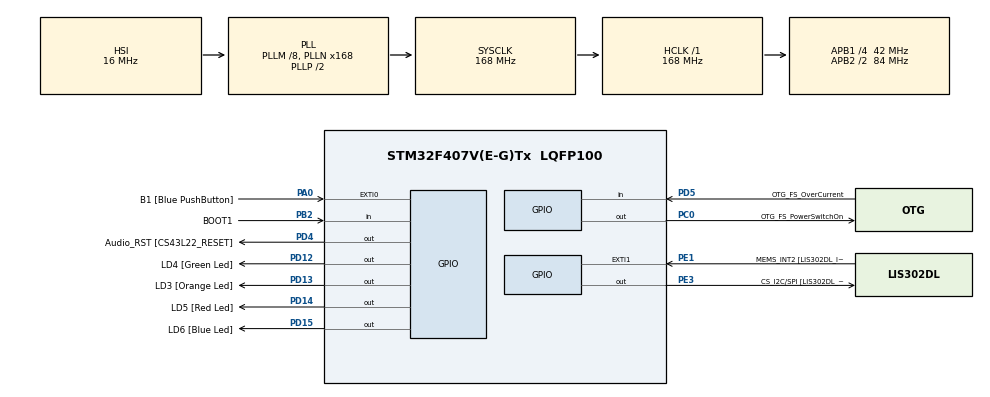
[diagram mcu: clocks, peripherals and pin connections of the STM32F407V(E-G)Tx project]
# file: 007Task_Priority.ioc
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Mcu.Family=STM32F4
Mcu.Name=STM32F407V(E-G)Tx
Mcu.Package=LQFP100
NVIC.PriorityGroup=NVIC_PRIORITYGROUP_4
NVIC.TIM6_DAC_IRQn=true\:0\:0\:false\:false\:true\:false\:true\:true
NVIC.TimeBase=TIM6_DAC_IRQn
NVIC.TimeBaseIP=TIM6
PA0-WKUP.GPIO_Label=B1 [Blue PushButton]
PA0-WKUP.Signal=GPXTI0
PA10.GPIO_Label=OTG_FS_ID
PA10.GPIO_Mode=GPIO_MODE_AF_PP
PA10.GPIO_PuPd=GPIO_NOPULL
PA10.GPIO_Speed=GPIO_SPEED_FREQ_LOW
PA10.Signal=USB_OTG_FS_ID
PA11.GPIO_Label=OTG_FS_DM
PA11.GPIO_Mode=GPIO_MODE_AF_PP
PA11.GPIO_PuPd=GPIO_NOPULL
PA11.GPIO_Speed=GPIO_SPEED_FREQ_LOW
PA11.Signal=USB_OTG_FS_DM
PA12.GPIO_Label=OTG_FS_DP
PA12.GPIO_Mode=GPIO_MODE_AF_PP
PA12.GPIO_PuPd=GPIO_NOPULL
PA12.GPIO_Speed=GPIO_SPEED_FREQ_LOW
PA12.Signal=USB_OTG_FS_DP
PA13.GPIO_Label=SWDIO
PA13.Signal=SYS_JTMS-SWDIO
PA14.GPIO_Label=SWCLK
PA14.Signal=SYS_JTCK-SWCLK
PA4.GPIO_Label=I2S3_WS [CS43L22_LRCK]
PA4.GPIO_Mode=GPIO_MODE_AF_PP
PA4.GPIO_PuPd=GPIO_NOPULL
PA4.GPIO_Speed=GPIO_SPEED_FREQ_LOW
PA4.Signal=I2S3_WS
PA5.GPIO_Label=SPI1_SCK [LIS302DL_SCL/SPC]
PA5.GPIO_Mode=GPIO_MODE_AF_PP
PA5.GPIO_PuPd=GPIO_NOPULL
PA5.GPIO_Speed=GPIO_SPEED_FREQ_LOW
PA5.Signal=SPI1_SCK
PA6.GPIO_Label=SPI1_MISO [LIS302DL_SDO]
PA6.GPIO_Mode=GPIO_MODE_AF_PP
PA6.GPIO_PuPd=GPIO_NOPULL
PA6.GPIO_Speed=GPIO_SPEED_FREQ_LOW
PA6.Signal=SPI1_MISO
PA7.GPIO_Label=SPI1_MOSI [LIS302DL_SDA/SDI/SDO]
PA7.GPIO_Mode=GPIO_MODE_AF_PP
PA7.GPIO_PuPd=GPIO_NOPULL
PA7.GPIO_Speed=GPIO_SPEED_FREQ_LOW
PA7.Signal=SPI1_MOSI
PA9.GPIO_Label=VBUS_FS
PA9.GPIO_Mode=GPIO_MODE_INPUT
PA9.GPIO_PuPd=GPIO_NOPULL
PA9.Signal=USB_OTG_FS_VBUS
PB10.GPIO_Label=CLK_IN [MP45DT02_CLK]
PB10.GPIO_Mode=GPIO_MODE_AF_PP
PB10.GPIO_PuPd=GPIO_NOPULL
PB10.GPIO_Speed=GPIO_SPEED_FREQ_LOW
PB10.Signal=I2S2_CK
PB2.GPIO_Label=BOOT1
PB2.GPIO_Mode=GPIO_MODE_INPUT
PB2.GPIO_PuPd=GPIO_NOPULL
PB2.Signal=GPIO_Input
PB3.GPIO_Label=SWO
PB3.Signal=SYS_JTDO-SWO
PB6.GPIO_Label=Audio_SCL [CS43L22_SCL]
PB6.GPIO_Mode=GPIO_MODE_AF_OD
PB6.GPIO_PuPd=GPIO_NOPULL
PB6.GPIO_Speed=GPIO_SPEED_FREQ_LOW
PB6.Signal=I2C1_SCL
PB9.GPIO_Label=Audio_SDA [CS43L22_SDA]
PB9.GPIO_Mode=GPIO_MODE_AF_OD
PB9.GPIO_PuPd=GPIO_NOPULL
PB9.GPIO_Speed=GPIO_SPEED_FREQ_LOW
PB9.Signal=I2C1_SDA
PC0.GPIO_Label=OTG_FS_PowerSwitchOn
PC0.GPIO_PuPd=GPIO_NOPULL
PC0.GPIO_Speed=GPIO_SPEED_FREQ_LOW
PC0.PinState=GPIO_PIN_SET
PC0.Signal=GPIO_Output
PC10.GPIO_Label=I2S3_SCK [CS43L22_SCLK]
PC10.GPIO_Mode=GPIO_MODE_AF_PP
PC10.GPIO_PuPd=GPIO_NOPULL
PC10.GPIO_Speed=GPIO_SPEED_FREQ_LOW
PC10.Signal=I2S3_CK
PC12.GPIO_Label=I2S3_SD [CS43L22_SDIN]
PC12.GPIO_Mode=GPIO_MODE_AF_PP
PC12.GPIO_PuPd=GPIO_NOPULL
PC12.GPIO_Speed=GPIO_SPEED_FREQ_LOW
PC12.Signal=I2S3_SD
PC14-OSC32_IN.GPIO_Label=PC14-OSC32_IN
PC14-OSC32_IN.Signal=RCC_OSC32_IN
PC15-OSC32_OUT.GPIO_Label=PC15-OSC32_OUT
PC15-OSC32_OUT.Signal=RCC_OSC32_OUT
PC3.GPIO_Label=PDM_OUT [MP45DT02_DOUT]
PC3.GPIO_Mode=GPIO_MODE_AF_PP
PC3.GPIO_PuPd=GPIO_NOPULL
PC3.GPIO_Speed=GPIO_SPEED_FREQ_LOW
PC3.Signal=I2S2_SD
PC7.GPIO_Label=I2S3_MCK [CS43L22_MCLK]
PC7.GPIO_Mode=GPIO_MODE_AF_PP
PC7.GPIO_PuPd=GPIO_NOPULL
PC7.GPIO_Speed=GPIO_SPEED_FREQ_LOW
PC7.Signal=I2S3_MCK
PD12.GPIO_Label=LD4 [Green Led]
PD12.GPIO_PuPd=GPIO_NOPULL
PD12.GPIO_Speed=GPIO_SPEED_FREQ_LOW
PD12.Signal=GPIO_Output
PD13.GPIO_Label=LD3 [Orange Led]
PD13.GPIO_PuPd=GPIO_NOPULL
PD13.GPIO_Speed=GPIO_SPEED_FREQ_LOW
PD13.Signal=GPIO_Output
PD14.GPIO_Label=LD5 [Red Led]
PD14.GPIO_PuPd=GPIO_NOPULL
PD14.GPIO_Speed=GPIO_SPEED_FREQ_LOW
PD14.Signal=GPIO_Output
PD15.GPIO_Label=LD6 [Blue Led]
PD15.GPIO_PuPd=GPIO_NOPULL
PD15.GPIO_Speed=GPIO_SPEED_FREQ_LOW
PD15.Signal=GPIO_Output
PD4.GPIO_Label=Audio_RST [CS43L22_RESET]
PD4.GPIO_PuPd=GPIO_NOPULL
PD4.GPIO_Speed=GPIO_SPEED_FREQ_LOW
PD4.Signal=GPIO_Output
PD5.GPIO_Label=OTG_FS_OverCurrent
PD5.GPIO_Mode=GPIO_MODE_INPUT
PD5.GPIO_PuPd=GPIO_NOPULL
PD5.Signal=GPIO_Input
PE1.GPIO_Label=MEMS_INT2 [LIS302DL_INT2]
PE1.GPIO_ModeDefaultEXTI=GPIO_MODE_EVT_RISING
PE1.GPIO_PuPd=GPIO_NOPULL
PE1.Signal=GPXTI1
PE3.GPIO_Label=CS_I2C/SPI [LIS302DL_CS_I2C/SPI]
PE3.GPIO_PuPd=GPIO_NOPULL
PE3.GPIO_Speed=GPIO_SPEED_FREQ_LOW
PE3.Signal=GPIO_Output
PH0-OSC_IN.GPIO_Label=PH0-OSC_IN
PH0-OSC_IN.Signal=RCC_OSC_IN
PH1-OSC_OUT.GPIO_Label=PH1-OSC_OUT
PH1-OSC_OUT.Signal=RCC_OSC_OUT
ProjectManager.HeapSize=0x200
ProjectManager.StackSize=0x400
ProjectManager.TargetToolchain=STM32CubeIDE
RCC.48MHZClocksFreq_Value=48000000
RCC.AHBFreq_Value=168000000
RCC.APB1CLKDivider=RCC_HCLK_DIV4
RCC.APB1Freq_Value=42000000
RCC.APB1TimFreq_Value=84000000
RCC.APB2CLKDivider=RCC_HCLK_DIV2
RCC.APB2Freq_Value=84000000
RCC.APB2TimFreq_Value=168000000
RCC.CortexFreq_Value=168000000
RCC.HCLKFreq_Value=168000000
RCC.HSE_VALUE=8000000
RCC.HSI_VALUE=16000000
RCC.LSE_VALUE=32768
RCC.PLLM=8
RCC.PLLN=168
RCC.PLLQ=7
RCC.SYSCLKFreq_VALUE=168000000
RCC.SYSCLKSource=RCC_SYSCLKSOURCE_PLLCLK
RCC.VCOOutputFreq_Value=336000000
VP_SYS_VS_tim6.Mode=TIM6
board=STM32F407G-DISC1

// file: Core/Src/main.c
/* USER CODE BEGIN Header */
/**
  ******************************************************************************
  * @file           : main.c
  * @brief          : Main program body
  ******************************************************************************
  * @attention
  *
  * Copyright (c) 2025 STMicroelectronics.
  * All rights reserved.
  *
  * This software is licensed under terms that can be found in the LICENSE file
  * in the root directory of this software component.
  * If no LICENSE file comes with this software, it is provided AS-IS.
  *
  ******************************************************************************
  */
/* USER CODE END Header */
#include "main.h"

/* USER CODE BEGIN Includes */
#include "FreeRTOS.h"
#include "task.h"
/* USER CODE END Includes */

/* USER CODE BEGIN PV */
#define DWT_CTRL (*(volatile uint32_t*)0xE0001000)
volatile BaseType_t button_status = 0;
/* USER CODE END PV */

void SystemClock_Config(void);
static void MX_GPIO_Init(void);
/* USER CODE BEGIN PFP */
static void task1_handler(void* parameters);
static void task2_handler(void* parameters);

TaskHandle_t task1_handle;
TaskHandle_t task2_handle;

extern void SEGGER_UART_init(uint32_t);
/* USER CODE END PFP */

int main(void)
{

  /* USER CODE BEGIN 1 */
	BaseType_t status;
  /* USER CODE END 1 */

  /* MCU Configuration--------------------------------------------------------*/

  /* Reset of all peripherals, Initializes the Flash interface and the Systick. */
  HAL_Init();

  /* Configure the system clock */
  SystemClock_Config();

  /* Initialize all configured peripherals */
  MX_GPIO_Init();
  /* USER CODE BEGIN 2 */
  SEGGER_UART_init(500000);

  //CYCLCNT enable
  DWT_CTRL |= (1 << 0);

  SEGGER_SYSVIEW_Conf(); //for uart communucation

  status = xTaskCreate(task1_handler, "Task_1", 200, NULL, 2, &task1_handle); //task1_handle is own TCB address

  configASSERT(status == pdPASS);

  status = xTaskCreate(task2_handler, "Task_2", 200, NULL, 3, &task2_handle);

  configASSERT(status == pdPASS);

  //start the freeRTOS scheduler
  vTaskStartScheduler();
  /* USER CODE END 2 */

  /* Infinite loop */
  while (1)
  {

  }
}

void SystemClock_Config(void)
{
  RCC_OscInitTypeDef RCC_OscInitStruct = {0};
  RCC_ClkInitTypeDef RCC_ClkInitStruct = {0};

  /** Configure the main internal regulator output voltage
  */
  __HAL_RCC_PWR_CLK_ENABLE();
  __HAL_PWR_VOLTAGESCALING_CONFIG(PWR_REGULATOR_VOLTAGE_SCALE1);

  /** Initializes the RCC Oscillators according to the specified parameters
  * in the RCC_OscInitTypeDef structure.
  */
  RCC_OscInitStruct.OscillatorType = RCC_OSCILLATORTYPE_HSI;
  RCC_OscInitStruct.HSIState = RCC_HSI_ON;
  RCC_OscInitStruct.HSICalibrationValue = RCC_HSICALIBRATION_DEFAULT;
  RCC_OscInitStruct.PLL.PLLState = RCC_PLL_ON;
  RCC_OscInitStruct.PLL.PLLSource = RCC_PLLSOURCE_HSI;
  RCC_OscInitStruct.PLL.PLLM = 8;
  RCC_OscInitStruct.PLL.PLLN = 168;
  RCC_OscInitStruct.PLL.PLLP = RCC_PLLP_DIV2;
  RCC_OscInitStruct.PLL.PLLQ = 7;
  if (HAL_RCC_OscConfig(&RCC_OscInitStruct) != HAL_OK)
  {
    Error_Handler();
  }

  /** Initializes the CPU, AHB and APB buses clocks
  */
  RCC_ClkInitStruct.ClockType = RCC_CLOCKTYPE_HCLK|RCC_CLOCKTYPE_SYSCLK
                              |RCC_CLOCKTYPE_PCLK1|RCC_CLOCKTYPE_PCLK2;
  RCC_ClkInitStruct.SYSCLKSource = RCC_SYSCLKSOURCE_PLLCLK;
  RCC_ClkInitStruct.AHBCLKDivider = RCC_SYSCLK_DIV1;
  RCC_ClkInitStruct.APB1CLKDivider = RCC_HCLK_DIV4;
  RCC_ClkInitStruct.APB2CLKDivider = RCC_HCLK_DIV2;

  if (HAL_RCC_ClockConfig(&RCC_ClkInitStruct, FLASH_LATENCY_5) != HAL_OK)
  {
    Error_Handler();
  }
}

static void MX_GPIO_Init(void)
{
  GPIO_InitTypeDef GPIO_InitStruct = {0};

  /* GPIO Ports Clock Enable */
  __HAL_RCC_GPIOE_CLK_ENABLE();
  __HAL_RCC_GPIOC_CLK_ENABLE();
  __HAL_RCC_GPIOH_CLK_ENABLE();
  __HAL_RCC_GPIOA_CLK_ENABLE();
  __HAL_RCC_GPIOB_CLK_ENABLE();
  __HAL_RCC_GPIOD_CLK_ENABLE();

  /*Configure GPIO pin Output Level */
  HAL_GPIO_WritePin(CS_I2C_SPI_GPIO_Port, CS_I2C_SPI_Pin, GPIO_PIN_RESET);

  /*Configure GPIO pin Output Level */
  HAL_GPIO_WritePin(OTG_FS_PowerSwitchOn_GPIO_Port, OTG_FS_PowerSwitchOn_Pin, GPIO_PIN_SET);

  /*Configure GPIO pin Output Level */
  HAL_GPIO_WritePin(GPIOD, LD4_Pin|LD3_Pin|LD5_Pin|LD6_Pin
                          |Audio_RST_Pin, GPIO_PIN_RESET);

  /*Configure GPIO pin : CS_I2C_SPI_Pin */
  GPIO_InitStruct.Pin = CS_I2C_SPI_Pin;
  GPIO_InitStruct.Mode = GPIO_MODE_OUTPUT_PP;
  GPIO_InitStruct.Pull = GPIO_NOPULL;
  GPIO_InitStruct.Speed = GPIO_SPEED_FREQ_LOW;
  HAL_GPIO_Init(CS_I2C_SPI_GPIO_Port, &GPIO_InitStruct);

  /*Configure GPIO pin : OTG_FS_PowerSwitchOn_Pin */
  GPIO_InitStruct.Pin = OTG_FS_PowerSwitchOn_Pin;
  GPIO_InitStruct.Mode = GPIO_MODE_OUTPUT_PP;
  GPIO_InitStruct.Pull = GPIO_NOPULL;
  GPIO_InitStruct.Speed = GPIO_SPEED_FREQ_LOW;
  HAL_GPIO_Init(OTG_FS_PowerSwitchOn_GPIO_Port, &GPIO_InitStruct);

  /*Configure GPIO pin : PDM_OUT_Pin */
  GPIO_InitStruct.Pin = PDM_OUT_Pin;
  GPIO_InitStruct.Mode = GPIO_MODE_AF_PP;
  GPIO_InitStruct.Pull = GPIO_NOPULL;
  GPIO_InitStruct.Speed = GPIO_SPEED_FREQ_LOW;
  GPIO_InitStruct.Alternate = GPIO_AF5_SPI2;
  HAL_GPIO_Init(PDM_OUT_GPIO_Port, &GPIO_InitStruct);

  /*Configure GPIO pin : B1_Pin */
  GPIO_InitStruct.Pin = B1_Pin;
  GPIO_InitStruct.Mode = GPIO_MODE_IT_RISING;
  GPIO_InitStruct.Pull = GPIO_NOPULL;
  HAL_GPIO_Init(B1_GPIO_Port, &GPIO_InitStruct);

  /*Configure GPIO pin : I2S3_WS_Pin */
  GPIO_InitStruct.Pin = I2S3_WS_Pin;
  GPIO_InitStruct.Mode = GPIO_MODE_AF_PP;
  GPIO_InitStruct.Pull = GPIO_NOPULL;
  GPIO_InitStruct.Speed = GPIO_SPEED_FREQ_LOW;
  GPIO_InitStruct.Alternate = GPIO_AF6_SPI3;
  HAL_GPIO_Init(I2S3_WS_GPIO_Port, &GPIO_InitStruct);

  /*Configure GPIO pins : SPI1_SCK_Pin SPI1_MISO_Pin SPI1_MOSI_Pin */
  GPIO_InitStruct.Pin = SPI1_SCK_Pin|SPI1_MISO_Pin|SPI1_MOSI_Pin;
  GPIO_InitStruct.Mode = GPIO_MODE_AF_PP;
  GPIO_InitStruct.Pull = GPIO_NOPULL;
  GPIO_InitStruct.Speed = GPIO_SPEED_FREQ_LOW;
  GPIO_InitStruct.Alternate = GPIO_AF5_SPI1;
  HAL_GPIO_Init(GPIOA, &GPIO_InitStruct);

  /*Configure GPIO pin : BOOT1_Pin */
  GPIO_InitStruct.Pin = BOOT1_Pin;
  GPIO_InitStruct.Mode = GPIO_MODE_INPUT;
  GPIO_InitStruct.Pull = GPIO_NOPULL;
  HAL_GPIO_Init(BOOT1_GPIO_Port, &GPIO_InitStruct);

  /*Configure GPIO pin : CLK_IN_Pin */
  GPIO_InitStruct.Pin = CLK_IN_Pin;
  GPIO_InitStruct.Mode = GPIO_MODE_AF_PP;
  GPIO_InitStruct.Pull = GPIO_NOPULL;
  GPIO_InitStruct.Speed = GPIO_SPEED_FREQ_LOW;
  GPIO_InitStruct.Alternate = GPIO_AF5_SPI2;
  HAL_GPIO_Init(CLK_IN_GPIO_Port, &GPIO_InitStruct);

  /*Configure GPIO pins : LD4_Pin LD3_Pin LD5_Pin LD6_Pin
                           Audio_RST_Pin */
  GPIO_InitStruct.Pin = LD4_Pin|LD3_Pin|LD5_Pin|LD6_Pin
                          |Audio_RST_Pin;
  GPIO_InitStruct.Mode = GPIO_MODE_OUTPUT_PP;
  GPIO_InitStruct.Pull = GPIO_NOPULL;
  GPIO_InitStruct.Speed = GPIO_SPEED_FREQ_LOW;
  HAL_GPIO_Init(GPIOD, &GPIO_InitStruct);

  /*Configure GPIO pins : I2S3_MCK_Pin I2S3_SCK_Pin I2S3_SD_Pin */
  GPIO_InitStruct.Pin = I2S3_MCK_Pin|I2S3_SCK_Pin|I2S3_SD_Pin;
  GPIO_InitStruct.Mode = GPIO_MODE_AF_PP;
  GPIO_InitStruct.Pull = GPIO_NOPULL;
  GPIO_InitStruct.Speed = GPIO_SPEED_FREQ_LOW;
  GPIO_InitStruct.Alternate = GPIO_AF6_SPI3;
  HAL_GPIO_Init(GPIOC, &GPIO_InitStruct);

  /*Configure GPIO pin : VBUS_FS_Pin */
  GPIO_InitStruct.Pin = VBUS_FS_Pin;
  GPIO_InitStruct.Mode = GPIO_MODE_INPUT;
  GPIO_InitStruct.Pull = GPIO_NOPULL;
  HAL_GPIO_Init(VBUS_FS_GPIO_Port, &GPIO_InitStruct);

  /*Configure GPIO pins : OTG_FS_ID_Pin OTG_FS_DM_Pin OTG_FS_DP_Pin */
  GPIO_InitStruct.Pin = OTG_FS_ID_Pin|OTG_FS_DM_Pin|OTG_FS_DP_Pin;
  GPIO_InitStruct.Mode = GPIO_MODE_AF_PP;
  GPIO_InitStruct.Pull = GPIO_NOPULL;
  GPIO_InitStruct.Speed = GPIO_SPEED_FREQ_LOW;
  GPIO_InitStruct.Alternate = GPIO_AF10_OTG_FS;
  HAL_GPIO_Init(GPIOA, &GPIO_InitStruct);

  /*Configure GPIO pin : OTG_FS_OverCurrent_Pin */
  GPIO_InitStruct.Pin = OTG_FS_OverCurrent_Pin;
  GPIO_InitStruct.Mode = GPIO_MODE_INPUT;
  GPIO_InitStruct.Pull = GPIO_NOPULL;
  HAL_GPIO_Init(OTG_FS_OverCurrent_GPIO_Port, &GPIO_InitStruct);

  /*Configure GPIO pins : Audio_SCL_Pin Audio_SDA_Pin */
  GPIO_InitStruct.Pin = Audio_SCL_Pin|Audio_SDA_Pin;
  GPIO_InitStruct.Mode = GPIO_MODE_AF_OD;
  GPIO_InitStruct.Pull = GPIO_NOPULL;
  GPIO_InitStruct.Speed = GPIO_SPEED_FREQ_LOW;
  GPIO_InitStruct.Alternate = GPIO_AF4_I2C1;
  HAL_GPIO_Init(GPIOB, &GPIO_InitStruct);

  /*Configure GPIO pin : MEMS_INT2_Pin */
  GPIO_InitStruct.Pin = MEMS_INT2_Pin;
  GPIO_InitStruct.Mode = GPIO_MODE_EVT_RISING;
  GPIO_InitStruct.Pull = GPIO_NOPULL;
  HAL_GPIO_Init(MEMS_INT2_GPIO_Port, &GPIO_InitStruct);

}

/* USER CODE BEGIN 4 */
void switch_priority(void){

}

void button_interrupt_handler(void){
	traceISR_ENTER();
	button_status = 1;
	traceISR_EXIT();
}

static void task1_handler(void *parameters){
	while(1){
		HAL_GPIO_TogglePin(GPIOD, LED_GREEN_PIN);
		HAL_Delay(1000);
		switch_priority();
	}
}

static void task2_handler(void *parameters){
	while(1){
		HAL_GPIO_TogglePin(GPIOD, LED_ORANGE_PIN);
		HAL_Delay(100);
		switch_priority();
	}
}

/* USER CODE END 4 */

void HAL_TIM_PeriodElapsedCallback(TIM_HandleTypeDef *htim)
{
  if (htim->Instance == TIM6)
  {
    HAL_IncTick();
  }
}

void Error_Handler(void)
{
  __disable_irq();
  while (1)
  {
  }
}
